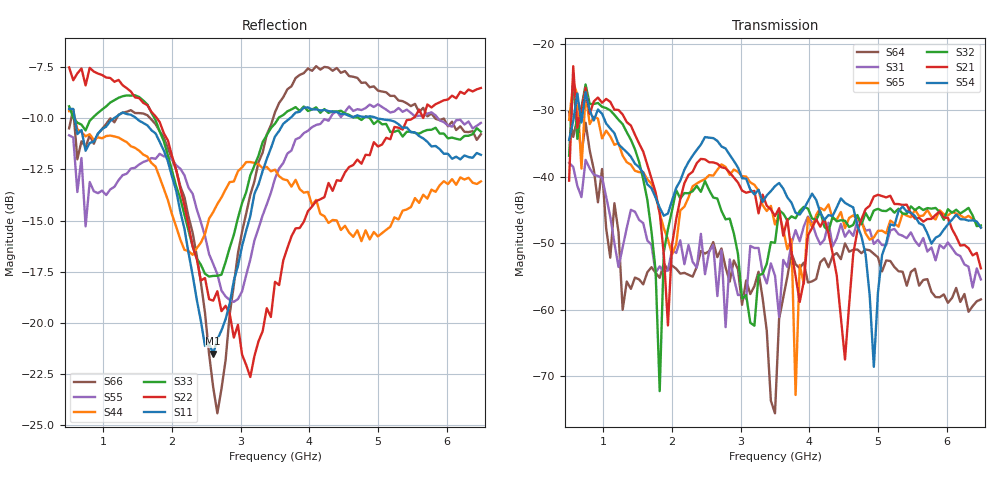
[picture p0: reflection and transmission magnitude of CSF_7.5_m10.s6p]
!Keysight Technologies,M9804A,MY58100912,A.14.10.03
!Date: Thursday, April 27, 2023 10:28:33
!Correction: S11(C  6-Port  )
!S12(C  6-Port  )
!S13(C  6-Port  )
!S14(C  6-Port  )
!S15(C  6-Port  )
!S16(C  6-Port  )
!S21(C  6-Port  )
!S22(C  6-Port  )
!S23(C  6-Port  )
!S24(C  6-Port  )
!S25(C  6-Port  )
!S26(C  6-Port  )
!S31(C  6-Port  )
!S32(C  6-Port  )
!S33(C  6-Port  )
!S34(C  6-Port  )
!S35(C  6-Port  )
!S36(C  6-Port  )
!S41(C  6-Port  )
!S42(C  6-Port  )
!S43(C  6-Port  )
!S44(C  6-Port  )
!S45(C  6-Port  )
!S46(C  6-Port  )
!S51(C  6-Port  )
!S52(C  6-Port  )
!S53(C  6-Port  )
!S54(C  6-Port  )
!S55(C  6-Port  )
!S56(C  6-Port  )
!S61(C  6-Port  )
!S62(C  6-Port  )
!S63(C  6-Port  )
!S64(C  6-Port  )
!S65(C  6-Port  )
!S66(C  6-Port  )
!S6P File: Measurement: :
# Hz S  RI  R 50
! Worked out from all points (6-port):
!   101 points, 500 MHz to 6.5 GHz, reference 50 ohm
!   strongest paths, dB at 500 MHz, 2 GHz, 3.5 GHz, 5 GHz, 6.5 GHz:
!     S54: -34.5, -43.6, -41.4, -57.5, -47.7
!     S21: -40.6, -50.2, -45.9, -42.7, -53.8
!     S32: -36.9, -45.1, -49.9, -44.8, -47.3
!     S65: -31.4, -51.7, -47.2, -48.1, -47.6
!     S31: -37.9, -51.0, -54.9, -49.5, -55.5
!     S64: -30.3, -53.4, -75.6, -52.1, -58.5
!   lowest |S11| = -21.5 dB at 2.6 GHz (marker M1), VSWR 1.18, Z = 42.5 + j1.94 ohm
!   |S11| at or under -10 dB: 582.2 MHz to 1.153 GHz (571.1 MHz wide, 65.8 % of centre); 1.479 GHz to 3.718 GHz (2.24 GHz wide, 86.2 % of centre); 4.987 GHz to end of sweep
